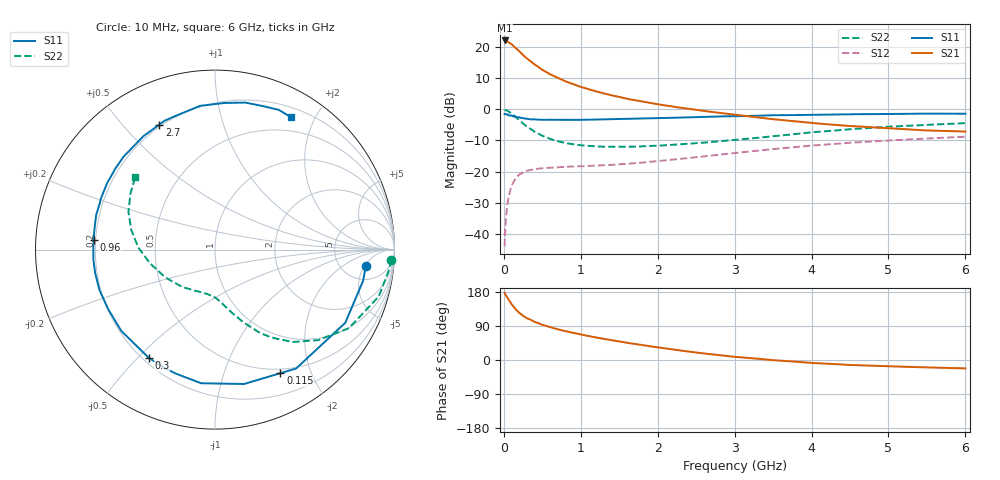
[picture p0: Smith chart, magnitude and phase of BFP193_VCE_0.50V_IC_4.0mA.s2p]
! Infineon Technologies  Discrete & RF Semiconductors
! BFP193
! VCE = 0.50V,  IC =  4.0 mA
! Common Emitter S-Parameters:  Jan 2016
# GHz  S  MA  R  50
!  f  S11  S21  S12  S22
! GHz  MAG  ANG  MAG  ANG  MAG  ANG  MAG  ANG
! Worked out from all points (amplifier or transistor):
!   210 points, 10 MHz to 6 GHz, reference 50 ohm
!   highest |S21| = 22.2 dB at 10 MHz (marker M1)
!   |S21| within 3 dB of that: start of sweep to 179.4 MHz
!   unconditionally stable (mu >= 1): 1.257 GHz to end of sweep
!   at 185 MHz: K = 0.19, MSG = 20.2 dB, |S12| = -21.4 dB
!   at 1.52 GHz: K = 1.11, MAG = 8.8 dB, |S12| = -17.7 dB
!   at 6 GHz: K = 1.04, MAG = -0.3 dB, |S12| = -8.8 dB
!   S11 on the Smith chart (normalised r, x): 10 MHz: 9, -5; 115 MHz: 0.45, -1.57; 300 MHz: 0.22, -0.54; 960 MHz: 0.19, +0.04; 2.7 GHz: 0.19, +0.63; 6 GHz: 0.32, +1.69
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0.01  0.8448 -6.1  12.85 177.5  0.0063 88.1  0.9844 -3.3
0.02  0.8434 -11.8  12.53 172.7  0.0128 83.6  0.9768 -6.5
0.05  0.8327 -29.3  12.3 162.7  0.0321 75.4  0.9489 -16.0
0.1  0.802 -55.7  11.23 147.6  0.0587 61.4  0.865 -30.4
0.115  0.7792 -62.1  10.75 144.0  0.0639 57.7  0.8318 -33.4
0.15  0.7661 -77.8  9.824 134.3  0.0768 51.1  0.7645 -41.3
0.2  0.7486 -95.9  8.642 124.5  0.0895 43.4  0.6737 -49.8
0.24  0.7248 -107.3  7.7 118.2  0.0954 38.9  0.6066 -55.1
0.3  0.7071 -121.4  6.586 110.2  0.103 34.0  0.5302 -61.5
0.4  0.6913 -139.1  5.285 100.6  0.1096 28.5  0.4377 -68.4
0.5  0.6815 -150.8  4.333 92.9  0.1132 25.1  0.3763 -73.8
0.6  0.682 -160.7  3.682 86.5  0.1153 23.3  0.3344 -78.2
0.7  0.6803 -169.0  3.217 80.8  0.117 22.2  0.307 -81.8
0.96  0.6781 175.5  2.396 69.1  0.1213 21.4  0.2684 -89.5
1.02  0.6799 172.2  2.264 66.5  0.1218 21.5  0.2633 -91.3
1.4  0.6966 155.7  1.679 52.4  0.128 23.7  0.2511 -103.1
2.02  0.7265 134.1  1.199 32.8  0.1481 28.5  0.2608 -122.1
2.7  0.7625 114.0  0.911 15.1  0.1809 30.3  0.2988 -144.2
3.1  0.7797 104.5  0.793 6.8  0.2045 29.2  0.3311 -157.0
4.1  0.8206 84.9  0.59 -8.7  0.267 22.2  0.4363 175.9
5.1  0.8444 70.4  0.488 -17.3  0.321 11.9  0.5331 154.2
6  0.8506 60.0  0.44 -22.2  0.363 1.9  0.6011 137.7
